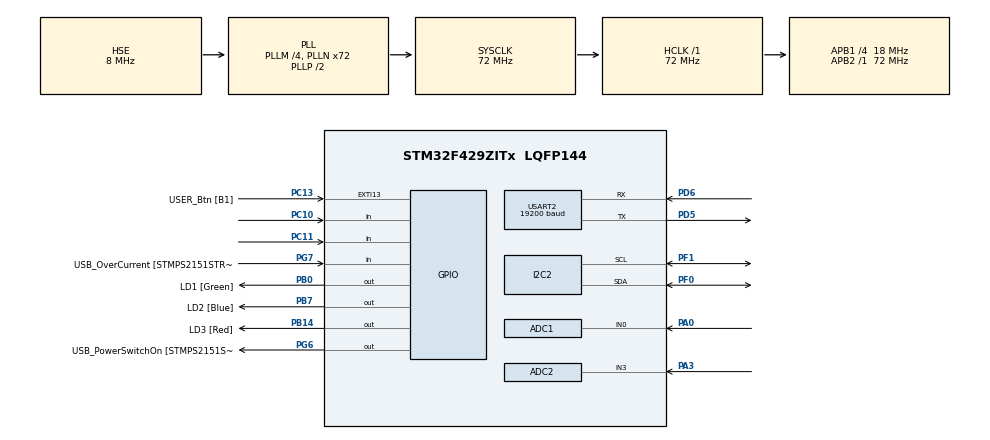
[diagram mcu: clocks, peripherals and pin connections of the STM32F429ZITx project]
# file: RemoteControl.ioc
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ADC1.Channel-1\#ChannelRegularConversion=ADC_CHANNEL_0
ADC1.ContinuousConvMode=ENABLE
ADC1.DMAContinuousRequests=DISABLE
ADC1.NbrOfConversion=1
ADC1.NbrOfConversionFlag=1
ADC1.Rank-1\#ChannelRegularConversion=1
ADC1.SamplingTime-1\#ChannelRegularConversion=ADC_SAMPLETIME_3CYCLES
ADC1.ScanConvMode=DISABLE
ADC1.master=1
ADC2.Channel-2\#ChannelRegularConversion=ADC_CHANNEL_3
ADC2.DMAContinuousRequests=DISABLE
ADC2.NbrOfConversion=1
ADC2.NbrOfConversionFlag=1
ADC2.Rank-2\#ChannelRegularConversion=1
ADC2.SamplingTime-2\#ChannelRegularConversion=ADC_SAMPLETIME_3CYCLES
ADC2.ScanConvMode=DISABLE
Mcu.Family=STM32F4
Mcu.Name=STM32F429ZITx
Mcu.Package=LQFP144
NVIC.PriorityGroup=NVIC_PRIORITYGROUP_4
NVIC.USART2_IRQn=true\:0\:0\:false\:false\:true\:true\:true
PA0/WKUP.Signal=ADCx_IN0
PA1.GPIO_Label=RMII_REF_CLK [LAN8742A-CZ-TR_REFCLK0]
PA1.Signal=ETH_REF_CLK
PA10.GPIO_Label=USB_ID
PA10.Signal=USB_OTG_FS_ID
PA11.GPIO_Label=USB_DM
PA11.Signal=USB_OTG_FS_DM
PA12.GPIO_Label=USB_DP
PA12.Signal=USB_OTG_FS_DP
PA13.GPIO_Label=TMS
PA13.Mode=Serial_Wire
PA13.Signal=SYS_JTMS-SWDIO
PA14.GPIO_Label=TCK
PA14.Mode=Serial_Wire
PA14.Signal=SYS_JTCK-SWCLK
PA2.GPIO_Label=RMII_MDIO [LAN8742A-CZ-TR_MDIO]
PA2.Signal=ETH_MDIO
PA3.Signal=ADCx_IN3
PA7.GPIO_Label=RMII_CRS_DV [LAN8742A-CZ-TR_CRS_DV]
PA7.Signal=ETH_CRS_DV
PA8.GPIO_Label=USB_SOF [TP1]
PA8.Signal=USB_OTG_FS_SOF
PA9.GPIO_Label=USB_VBUS
PA9.Signal=USB_OTG_FS_VBUS
PB0.GPIO_Label=LD1 [Green]
PB0.Signal=GPIO_Output
PB13.GPIO_Label=RMII_TXD1 [LAN8742A-CZ-TR_TXD1]
PB13.Signal=ETH_TXD1
PB14.GPIO_Label=LD3 [Red]
PB14.Signal=GPIO_Output
PB7.GPIO_Label=LD2 [Blue]
PB7.Signal=GPIO_Output
PC1.GPIO_Label=RMII_MDC [LAN8742A-CZ-TR_MDC]
PC1.Signal=ETH_MDC
PC10.Signal=GPIO_Input
PC11.Signal=GPIO_Input
PC13.GPIO_Label=USER_Btn [B1]
PC13.Signal=GPXTI13
PC14/OSC32_IN.Signal=RCC_OSC32_IN
PC15/OSC32_OUT.Signal=RCC_OSC32_OUT
PC4.GPIO_Label=RMII_RXD0 [LAN8742A-CZ-TR_RXD0]
PC4.Signal=ETH_RXD0
PC5.GPIO_Label=RMII_RXD1 [LAN8742A-CZ-TR_RXD1]
PC5.Signal=ETH_RXD1
PD5.Mode=Asynchronous
PD5.Signal=USART2_TX
PD6.Mode=Asynchronous
PD6.Signal=USART2_RX
PD8.GPIO_Label=STLK_RX [STM32F103CBT6_PA3]
PD8.Signal=USART3_TX
PD9.GPIO_Label=STLK_TX [STM32F103CBT6_PA2]
PD9.Signal=USART3_RX
PF0.Mode=I2C
PF0.Signal=I2C2_SDA
PF1.Mode=I2C
PF1.Signal=I2C2_SCL
PG11.GPIO_Label=RMII_TX_EN [LAN8742A-CZ-TR_TXEN]
PG11.Signal=ETH_TX_EN
PG13.GPIO_Label=RMII_TXD0 [LAN8742A-CZ-TR_TXD0]
PG13.Signal=ETH_TXD0
PG6.GPIO_Label=USB_PowerSwitchOn [STMPS2151STR_EN]
PG6.Signal=GPIO_Output
PG7.GPIO_Label=USB_OverCurrent [STMPS2151STR_FAULT]
PG7.Signal=GPIO_Input
PH0/OSC_IN.GPIO_Label=MCO [STM32F103CBT6_PA8]
PH0/OSC_IN.Mode=HSE-External-Oscillator
PH0/OSC_IN.Signal=RCC_OSC_IN
PH1/OSC_OUT.Mode=HSE-External-Oscillator
PH1/OSC_OUT.Signal=RCC_OSC_OUT
ProjectManager.HeapSize=0x200
ProjectManager.StackSize=0x400
ProjectManager.TargetToolchain=MDK-ARM V5
RCC.48MHZClocksFreq_Value=36000000
RCC.AHBFreq_Value=72000000
RCC.APB1CLKDivider=RCC_HCLK_DIV4
RCC.APB1Freq_Value=18000000
RCC.APB1TimFreq_Value=36000000
RCC.APB2Freq_Value=72000000
RCC.APB2TimFreq_Value=72000000
RCC.CortexFreq_Value=72000000
RCC.HCLKFreq_Value=72000000
RCC.HSE_VALUE=8000000
RCC.HSI_VALUE=16000000
RCC.LSE_VALUE=32768
RCC.PLLM=4
RCC.PLLMUL=RCC_PLL_MUL9
RCC.PLLN=72
RCC.PLLSourceVirtual=RCC_PLLSOURCE_HSE
RCC.PRESCALERUSB=RCC_USBCLKSOURCE_PLL_DIV1_5
RCC.SYSCLKFreq_VALUE=72000000
RCC.SYSCLKSource=RCC_SYSCLKSOURCE_PLLCLK
RCC.SYSCLKSourceVirtual=RCC_SYSCLKSOURCE_PLLCLK
RCC.USBFreq_Value=48000000
RCC.VCOOutputFreq_Value=144000000
SH.ADCx_IN0.0=ADC1_IN0,IN0
SH.ADCx_IN3.0=ADC2_IN3,IN3
TIM2.Prescaler=36000-1
USART2.BaudRate=19200
USART2.VirtualMode=VM_ASYNC
VP_TIM2_VS_ClockSourceINT.Mode=Internal
board=NUCLEO-F429ZI

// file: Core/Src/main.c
/* USER CODE BEGIN Header */
/**
  ******************************************************************************
  * @file           : main.c
  * @brief          : Main program body
  ******************************************************************************
  * @attention
  *
  * <h2><center>&copy; Copyright (c) 2022 STMicroelectronics.
  * All rights reserved.</center></h2>
  *
  * This software component is licensed by ST under BSD 3-Clause license,
  * the "License"; You may not use this file except in compliance with the
  * License. You may obtain a copy of the License at:
  *                        opensource.org/licenses/BSD-3-Clause
  *
  ******************************************************************************
  */
/* USER CODE END Header */
#include "main.h"

/* USER CODE BEGIN Includes */
#include "display.h"
#include "joystick.h"
#include "remoteControl.h"
#include <math.h>
#include "stdlib.h"
/* USER CODE END Includes */

ADC_HandleTypeDef hadc1;
ADC_HandleTypeDef hadc2;

I2C_HandleTypeDef hi2c2;

TIM_HandleTypeDef htim2;

UART_HandleTypeDef huart2;

/* USER CODE BEGIN PV */
uint8_t sendData[1]; // byte1,6 - check byte 0x7E; byte2,3 - data for servo and motor; byte4 - buttonState; byte5 - check sum
float c[4]; // array for joysticks conversion coefficients

uint8_t getData[1]; // receiving data byte from machine, which is putted in uint8_t response[6] array

uint8_t response[6]; // byte1,5 - check byte 0x7E; byte2,3 - state and velocity; byte4 - check sum
uint8_t counter = 0; // counter for amount of received data bytes
uint8_t end_data_transmition = 0; // if this variable is 0 - data is receiving or broken, 1 - data have been received well

uint16_t Servo; // variables for servo and motor values from adc
uint16_t Step; //

uint8_t buttonState = 0; // if it is 0 - all button unpressed; 2 - left joystick is pressed => buttonCount+=1 => reverse mod is started; 1 - right joystick is pressed
uint8_t buttonCount = 0; // button counter, which is used to know when should start or stop reverse mod
/* USER CODE END PV */

void SystemClock_Config(void);
static void MX_GPIO_Init(void);
static void MX_ADC1_Init(void);
static void MX_ADC2_Init(void);
static void MX_I2C2_Init(void);
static void MX_USART2_UART_Init(void);
static void MX_TIM2_Init(void);

/* USER CODE BEGIN 0 */
void HAL_UART_RxCpltCallback(UART_HandleTypeDef *huart)
{
	response[counter] = getData[0];
	counter += 1;

	if (counter == 6)
	{
		counter = 0;
		if (response[0] == response[5] && response[0] == 0x7E && response[4] == crc8(response, 4)) end_data_transmition = 1;
	}
}

void HAL_UART_TxCpltCallback(UART_HandleTypeDef *huart){}

void HAL_TIM_PeriodElapsedCallback(TIM_HandleTypeDef *htim){}
/* USER CODE END 0 */

int main(void)
{

  /* MCU Configuration--------------------------------------------------------*/

  /* Reset of all peripherals, Initializes the Flash interface and the Systick. */
  HAL_Init();

  /* Configure the system clock */
  SystemClock_Config();

  /* Initialize all configured peripherals */
  MX_GPIO_Init();
  MX_ADC1_Init();
  MX_ADC2_Init();
  MX_I2C2_Init();
  MX_USART2_UART_Init();
  MX_TIM2_Init();
  /* USER CODE BEGIN 2 */
	HAL_ADC_Init(&hadc1);
	HAL_ADC_Init(&hadc2);
	lcd_init();
	lcd_put_cur(0,5);
	lcd_send_string("Hello");
	HAL_Delay(2000);
	lcd_clear();
 	lcd_put_cur(0,0);

	float* coef = calibration(&htim2, &hadc1, &hadc2); // do calibration and get conversion coefficients
	c[0] = coef[0];
	c[1] = coef[1]; // save calibration coefficients in c[4] array
	c[2] = coef[2];
	c[3] = coef[3];

	checkMachineStatus(&huart2); // send check data package to verify machine status

	lcd_put_cur(1,0);
	lcd_send_string("Ve-ty:");
	lcd_put_cur(1,9);
	lcd_send_string("Tm:0:0");

	__HAL_TIM_SetCounter(&htim2, 0);
	end_data_transmition = 0;
  /* USER CODE END 2 */

  /* Infinite loop */
  while (1)
  {

    /* USER CODE BEGIN 3 */
		Servo = getServoValue(&hadc1); //
		Step = getStepValue(&hadc2);   // get servo, step value and button state
		buttonState = getStateButton();//

		if (buttonState == 2)
		{
			buttonCount += 1;
		}

		if (buttonCount == 1) // it is mean we should START data aggregation in machine for reverse mod
		{
			sendValue(&huart2, c, Servo, Step, buttonState);
			lcd_put_cur(0,2);
			lcd_send_string("REVERSE MODE");
			buttonCount += 1;
			HAL_Delay(600);
		}

		else if (buttonCount == 3) // it is mean we should STOP data aggregation in machine for reverse mod
		{
			sendValue(&huart2, c, Servo, Step, buttonState);
			lcd_put_cur(0,0);
			lcd_send_string("END REVERSE MODE");
			while(end_data_transmition != 1) HAL_UART_Receive_IT(&huart2, getData, 1);
			end_data_transmition = 0;
			buttonCount = 0;
			lcd_clear();
			lcd_put_cur(1,0);
			lcd_send_string("Ve-ty:");
			lcd_put_cur(1,9);
			lcd_send_string("Tm:0:0");
			HAL_Delay(10);
		}

		else if (buttonCount == 2)
		{
			sendValue(&huart2, c, Servo, Step, buttonState);
			displayControl(&htim2);
		}
		else sendValue(&huart2, c, Servo, Step, buttonState);
  }
  /* USER CODE END 3 */
}

void SystemClock_Config(void)
{
  RCC_OscInitTypeDef RCC_OscInitStruct = {0};
  RCC_ClkInitTypeDef RCC_ClkInitStruct = {0};

  /** Configure the main internal regulator output voltage
  */
  __HAL_RCC_PWR_CLK_ENABLE();
  __HAL_PWR_VOLTAGESCALING_CONFIG(PWR_REGULATOR_VOLTAGE_SCALE3);
  /** Initializes the RCC Oscillators according to the specified parameters
  * in the RCC_OscInitTypeDef structure.
  */
  RCC_OscInitStruct.OscillatorType = RCC_OSCILLATORTYPE_HSE;
  RCC_OscInitStruct.HSEState = RCC_HSE_ON;
  RCC_OscInitStruct.PLL.PLLState = RCC_PLL_ON;
  RCC_OscInitStruct.PLL.PLLSource = RCC_PLLSOURCE_HSE;
  RCC_OscInitStruct.PLL.PLLM = 4;
  RCC_OscInitStruct.PLL.PLLN = 72;
  RCC_OscInitStruct.PLL.PLLP = RCC_PLLP_DIV2;
  RCC_OscInitStruct.PLL.PLLQ = 4;
  if (HAL_RCC_OscConfig(&RCC_OscInitStruct) != HAL_OK)
  {
    Error_Handler();
  }
  /** Initializes the CPU, AHB and APB buses clocks
  */
  RCC_ClkInitStruct.ClockType = RCC_CLOCKTYPE_HCLK|RCC_CLOCKTYPE_SYSCLK
                              |RCC_CLOCKTYPE_PCLK1|RCC_CLOCKTYPE_PCLK2;
  RCC_ClkInitStruct.SYSCLKSource = RCC_SYSCLKSOURCE_PLLCLK;
  RCC_ClkInitStruct.AHBCLKDivider = RCC_SYSCLK_DIV1;
  RCC_ClkInitStruct.APB1CLKDivider = RCC_HCLK_DIV4;
  RCC_ClkInitStruct.APB2CLKDivider = RCC_HCLK_DIV1;

  if (HAL_RCC_ClockConfig(&RCC_ClkInitStruct, FLASH_LATENCY_2) != HAL_OK)
  {
    Error_Handler();
  }
}

static void MX_ADC1_Init(void)
{

  ADC_ChannelConfTypeDef sConfig = {0};

  /** Configure the global features of the ADC (Clock, Resolution, Data Alignment and number of conversion)
  */
  hadc1.Instance = ADC1;
  hadc1.Init.ClockPrescaler = ADC_CLOCK_SYNC_PCLK_DIV2;
  hadc1.Init.Resolution = ADC_RESOLUTION_12B;
  hadc1.Init.ScanConvMode = DISABLE;
  hadc1.Init.ContinuousConvMode = ENABLE;
  hadc1.Init.DiscontinuousConvMode = DISABLE;
  hadc1.Init.ExternalTrigConvEdge = ADC_EXTERNALTRIGCONVEDGE_NONE;
  hadc1.Init.ExternalTrigConv = ADC_SOFTWARE_START;
  hadc1.Init.DataAlign = ADC_DATAALIGN_RIGHT;
  hadc1.Init.NbrOfConversion = 1;
  hadc1.Init.DMAContinuousRequests = DISABLE;
  hadc1.Init.EOCSelection = ADC_EOC_SINGLE_CONV;
  if (HAL_ADC_Init(&hadc1) != HAL_OK)
  {
    Error_Handler();
  }
  /** Configure for the selected ADC regular channel its corresponding rank in the sequencer and its sample time.
  */
  sConfig.Channel = ADC_CHANNEL_0;
  sConfig.Rank = 1;
  sConfig.SamplingTime = ADC_SAMPLETIME_3CYCLES;
  if (HAL_ADC_ConfigChannel(&hadc1, &sConfig) != HAL_OK)
  {
    Error_Handler();
  }

}

static void MX_ADC2_Init(void)
{

  ADC_ChannelConfTypeDef sConfig = {0};

  /** Configure the global features of the ADC (Clock, Resolution, Data Alignment and number of conversion)
  */
  hadc2.Instance = ADC2;
  hadc2.Init.ClockPrescaler = ADC_CLOCK_SYNC_PCLK_DIV2;
  hadc2.Init.Resolution = ADC_RESOLUTION_12B;
  hadc2.Init.ScanConvMode = DISABLE;
  hadc2.Init.ContinuousConvMode = ENABLE;
  hadc2.Init.DiscontinuousConvMode = DISABLE;
  hadc2.Init.ExternalTrigConvEdge = ADC_EXTERNALTRIGCONVEDGE_NONE;
  hadc2.Init.ExternalTrigConv = ADC_SOFTWARE_START;
  hadc2.Init.DataAlign = ADC_DATAALIGN_RIGHT;
  hadc2.Init.NbrOfConversion = 1;
  hadc2.Init.DMAContinuousRequests = DISABLE;
  hadc2.Init.EOCSelection = ADC_EOC_SINGLE_CONV;
  if (HAL_ADC_Init(&hadc2) != HAL_OK)
  {
    Error_Handler();
  }
  /** Configure for the selected ADC regular channel its corresponding rank in the sequencer and its sample time.
  */
  sConfig.Channel = ADC_CHANNEL_3;
  sConfig.Rank = 1;
  sConfig.SamplingTime = ADC_SAMPLETIME_3CYCLES;
  if (HAL_ADC_ConfigChannel(&hadc2, &sConfig) != HAL_OK)
  {
    Error_Handler();
  }

}

static void MX_I2C2_Init(void)
{

  hi2c2.Instance = I2C2;
  hi2c2.Init.ClockSpeed = 100000;
  hi2c2.Init.DutyCycle = I2C_DUTYCYCLE_2;
  hi2c2.Init.OwnAddress1 = 0;
  hi2c2.Init.AddressingMode = I2C_ADDRESSINGMODE_7BIT;
  hi2c2.Init.DualAddressMode = I2C_DUALADDRESS_DISABLE;
  hi2c2.Init.OwnAddress2 = 0;
  hi2c2.Init.GeneralCallMode = I2C_GENERALCALL_DISABLE;
  hi2c2.Init.NoStretchMode = I2C_NOSTRETCH_DISABLE;
  if (HAL_I2C_Init(&hi2c2) != HAL_OK)
  {
    Error_Handler();
  }
  /** Configure Analogue filter
  */
  if (HAL_I2CEx_ConfigAnalogFilter(&hi2c2, I2C_ANALOGFILTER_ENABLE) != HAL_OK)
  {
    Error_Handler();
  }
  /** Configure Digital filter
  */
  if (HAL_I2CEx_ConfigDigitalFilter(&hi2c2, 0) != HAL_OK)
  {
    Error_Handler();
  }

}

static void MX_TIM2_Init(void)
{

  TIM_ClockConfigTypeDef sClockSourceConfig = {0};
  TIM_MasterConfigTypeDef sMasterConfig = {0};

  htim2.Instance = TIM2;
  htim2.Init.Prescaler = 36000-1;
  htim2.Init.CounterMode = TIM_COUNTERMODE_UP;
  htim2.Init.Period = 4294967295;
  htim2.Init.ClockDivision = TIM_CLOCKDIVISION_DIV1;
  htim2.Init.AutoReloadPreload = TIM_AUTORELOAD_PRELOAD_DISABLE;
  if (HAL_TIM_Base_Init(&htim2) != HAL_OK)
  {
    Error_Handler();
  }
  sClockSourceConfig.ClockSource = TIM_CLOCKSOURCE_INTERNAL;
  if (HAL_TIM_ConfigClockSource(&htim2, &sClockSourceConfig) != HAL_OK)
  {
    Error_Handler();
  }
  sMasterConfig.MasterOutputTrigger = TIM_TRGO_RESET;
  sMasterConfig.MasterSlaveMode = TIM_MASTERSLAVEMODE_DISABLE;
  if (HAL_TIMEx_MasterConfigSynchronization(&htim2, &sMasterConfig) != HAL_OK)
  {
    Error_Handler();
  }

}

static void MX_USART2_UART_Init(void)
{

  huart2.Instance = USART2;
  huart2.Init.BaudRate = 19200;
  huart2.Init.WordLength = UART_WORDLENGTH_8B;
  huart2.Init.StopBits = UART_STOPBITS_1;
  huart2.Init.Parity = UART_PARITY_NONE;
  huart2.Init.Mode = UART_MODE_TX_RX;
  huart2.Init.HwFlowCtl = UART_HWCONTROL_NONE;
  huart2.Init.OverSampling = UART_OVERSAMPLING_16;
  if (HAL_UART_Init(&huart2) != HAL_OK)
  {
    Error_Handler();
  }

}

static void MX_GPIO_Init(void)
{
  GPIO_InitTypeDef GPIO_InitStruct = {0};

  /* GPIO Ports Clock Enable */
  __HAL_RCC_GPIOC_CLK_ENABLE();
  __HAL_RCC_GPIOF_CLK_ENABLE();
  __HAL_RCC_GPIOH_CLK_ENABLE();
  __HAL_RCC_GPIOA_CLK_ENABLE();
  __HAL_RCC_GPIOB_CLK_ENABLE();
  __HAL_RCC_GPIOD_CLK_ENABLE();
  __HAL_RCC_GPIOG_CLK_ENABLE();

  /*Configure GPIO pin Output Level */
  HAL_GPIO_WritePin(GPIOB, LD1_Pin|LD3_Pin|LD2_Pin, GPIO_PIN_RESET);

  /*Configure GPIO pin Output Level */
  HAL_GPIO_WritePin(USB_PowerSwitchOn_GPIO_Port, USB_PowerSwitchOn_Pin, GPIO_PIN_RESET);

  /*Configure GPIO pin : USER_Btn_Pin */
  GPIO_InitStruct.Pin = USER_Btn_Pin;
  GPIO_InitStruct.Mode = GPIO_MODE_IT_RISING;
  GPIO_InitStruct.Pull = GPIO_NOPULL;
  HAL_GPIO_Init(USER_Btn_GPIO_Port, &GPIO_InitStruct);

  /*Configure GPIO pins : RMII_MDC_Pin RMII_RXD0_Pin RMII_RXD1_Pin */
  GPIO_InitStruct.Pin = RMII_MDC_Pin|RMII_RXD0_Pin|RMII_RXD1_Pin;
  GPIO_InitStruct.Mode = GPIO_MODE_AF_PP;
  GPIO_InitStruct.Pull = GPIO_NOPULL;
  GPIO_InitStruct.Speed = GPIO_SPEED_FREQ_VERY_HIGH;
  GPIO_InitStruct.Alternate = GPIO_AF11_ETH;
  HAL_GPIO_Init(GPIOC, &GPIO_InitStruct);

  /*Configure GPIO pins : RMII_REF_CLK_Pin RMII_MDIO_Pin RMII_CRS_DV_Pin */
  GPIO_InitStruct.Pin = RMII_REF_CLK_Pin|RMII_MDIO_Pin|RMII_CRS_DV_Pin;
  GPIO_InitStruct.Mode = GPIO_MODE_AF_PP;
  GPIO_InitStruct.Pull = GPIO_NOPULL;
  GPIO_InitStruct.Speed = GPIO_SPEED_FREQ_VERY_HIGH;
  GPIO_InitStruct.Alternate = GPIO_AF11_ETH;
  HAL_GPIO_Init(GPIOA, &GPIO_InitStruct);

  /*Configure GPIO pins : LD1_Pin LD3_Pin LD2_Pin */
  GPIO_InitStruct.Pin = LD1_Pin|LD3_Pin|LD2_Pin;
  GPIO_InitStruct.Mode = GPIO_MODE_OUTPUT_PP;
  GPIO_InitStruct.Pull = GPIO_NOPULL;
  GPIO_InitStruct.Speed = GPIO_SPEED_FREQ_LOW;
  HAL_GPIO_Init(GPIOB, &GPIO_InitStruct);

  /*Configure GPIO pin : RMII_TXD1_Pin */
  GPIO_InitStruct.Pin = RMII_TXD1_Pin;
  GPIO_InitStruct.Mode = GPIO_MODE_AF_PP;
  GPIO_InitStruct.Pull = GPIO_NOPULL;
  GPIO_InitStruct.Speed = GPIO_SPEED_FREQ_VERY_HIGH;
  GPIO_InitStruct.Alternate = GPIO_AF11_ETH;
  HAL_GPIO_Init(RMII_TXD1_GPIO_Port, &GPIO_InitStruct);

  /*Configure GPIO pins : STLK_RX_Pin STLK_TX_Pin */
  GPIO_InitStruct.Pin = STLK_RX_Pin|STLK_TX_Pin;
  GPIO_InitStruct.Mode = GPIO_MODE_AF_PP;
  GPIO_InitStruct.Pull = GPIO_NOPULL;
  GPIO_InitStruct.Speed = GPIO_SPEED_FREQ_VERY_HIGH;
  GPIO_InitStruct.Alternate = GPIO_AF7_USART3;
  HAL_GPIO_Init(GPIOD, &GPIO_InitStruct);

  /*Configure GPIO pin : USB_PowerSwitchOn_Pin */
  GPIO_InitStruct.Pin = USB_PowerSwitchOn_Pin;
  GPIO_InitStruct.Mode = GPIO_MODE_OUTPUT_PP;
  GPIO_InitStruct.Pull = GPIO_NOPULL;
  GPIO_InitStruct.Speed = GPIO_SPEED_FREQ_LOW;
  HAL_GPIO_Init(USB_PowerSwitchOn_GPIO_Port, &GPIO_InitStruct);

  /*Configure GPIO pin : USB_OverCurrent_Pin */
  GPIO_InitStruct.Pin = USB_OverCurrent_Pin;
  GPIO_InitStruct.Mode = GPIO_MODE_INPUT;
  GPIO_InitStruct.Pull = GPIO_NOPULL;
  HAL_GPIO_Init(USB_OverCurrent_GPIO_Port, &GPIO_InitStruct);

  /*Configure GPIO pins : USB_SOF_Pin USB_ID_Pin USB_DM_Pin USB_DP_Pin */
  GPIO_InitStruct.Pin = USB_SOF_Pin|USB_ID_Pin|USB_DM_Pin|USB_DP_Pin;
  GPIO_InitStruct.Mode = GPIO_MODE_AF_PP;
  GPIO_InitStruct.Pull = GPIO_NOPULL;
  GPIO_InitStruct.Speed = GPIO_SPEED_FREQ_VERY_HIGH;
  GPIO_InitStruct.Alternate = GPIO_AF10_OTG_FS;
  HAL_GPIO_Init(GPIOA, &GPIO_InitStruct);

  /*Configure GPIO pin : USB_VBUS_Pin */
  GPIO_InitStruct.Pin = USB_VBUS_Pin;
  GPIO_InitStruct.Mode = GPIO_MODE_INPUT;
  GPIO_InitStruct.Pull = GPIO_NOPULL;
  HAL_GPIO_Init(USB_VBUS_GPIO_Port, &GPIO_InitStruct);

  /*Configure GPIO pins : PC10 PC11 */
  GPIO_InitStruct.Pin = GPIO_PIN_10|GPIO_PIN_11;
  GPIO_InitStruct.Mode = GPIO_MODE_INPUT;
  GPIO_InitStruct.Pull = GPIO_NOPULL;
  HAL_GPIO_Init(GPIOC, &GPIO_InitStruct);

  /*Configure GPIO pins : RMII_TX_EN_Pin RMII_TXD0_Pin */
  GPIO_InitStruct.Pin = RMII_TX_EN_Pin|RMII_TXD0_Pin;
  GPIO_InitStruct.Mode = GPIO_MODE_AF_PP;
  GPIO_InitStruct.Pull = GPIO_NOPULL;
  GPIO_InitStruct.Speed = GPIO_SPEED_FREQ_VERY_HIGH;
  GPIO_InitStruct.Alternate = GPIO_AF11_ETH;
  HAL_GPIO_Init(GPIOG, &GPIO_InitStruct);

}

void Error_Handler(void)
{
  __disable_irq();
  while (1)
  {
  }
}

/************************ (C) COPYRIGHT STMicroelectronics *****END OF FILE****/
